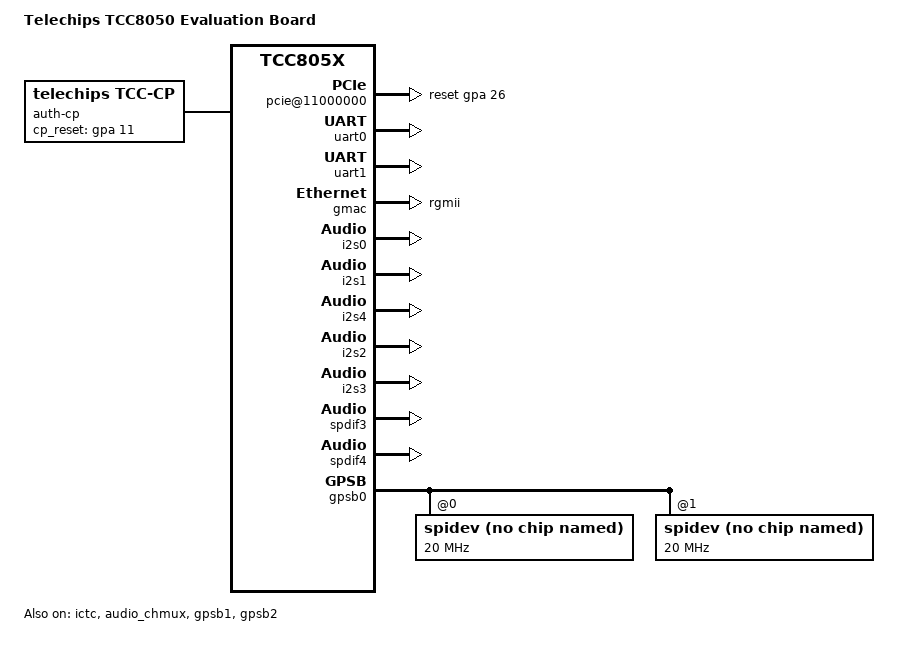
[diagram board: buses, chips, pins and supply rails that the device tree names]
// SPDX-License-Identifier: (GPL-2.0-or-later OR MIT)
/*
 * Copyright (C) Telechips Inc.
 */

#include "tcc8050.dtsi"
#include "tcc805x-linux.dtsi"

#include <dt-bindings/pmap/tcc805x/pmap-tcc805x-linux-ivi.h>

/ {
	model = "Telechips TCC8050 Evaluation Board";
	compatible = "telechips,tcc8050", "telechips,tcc805x";

	chosen {
		bootargs = "vmalloc=480M console=ttyAMA0,115200n8";
		stdout-path = &uart0;
	};

	i2c@16360000 {
		status = "okay";
		port-mux = <12>;
		pinctrl-names = "default";
		pinctrl-0 = <&i2c12_bus>;
		status = "disabled";
	};

	i2c@16370000 {
		status = "okay";
		port-mux = <13>;
		pinctrl-names = "default";
		pinctrl-0 = <&i2c13_bus>;
		status = "disabled";
	};

    	pcie@11000000 {
        	reset-gpio = <&gpa 26 0>;
        	status = "okay";
    	};

	auth-cp {
		compatible = "telechips, tcc-cp";
		cp-type = <2>;      /* 2.0C = 1, 2.0B = 0, 3.0 = 2 */
		i2c-channel = <3>;  /* 0 ~ 3 */
		/*  power-ctrl-able; */
		/* cp_power-gpio = <&gpk 14 0>; */
		cp_reset-gpio = <&gpa 11 0>;
	};
};

&reserved_memory {
	/*-----------------------------------------------------------
	* Memory for PowerVR Virtualization
	*-----------------------------------------------------------
	*/
	pmap_pvr_vz: pmap_pvr_vz {
		reg = <0x0 PVR_VZ_BASE 0x0 PMAP_SIZE_PVR_VZ>;
		no-map;
	};

	/*-----------------------------------------------------------
	 * Camera Memory
	 *-----------------------------------------------------------
	 */
	pmap_parking_gui: pmap_parking_gui {
		compatible = "shared-dma-pool";
		reg = <0x0 CAMERA_PGL_BASE 0x0 PMAP_SIZE_CAMERA_PGL>;
		alignment = <0x1000>;
		no-map;
	};

	pmap_rearcamera_viqe: pmap_rearcamera_viqe {
		compatible = "shared-dma-pool";
		reg = <0x0 CAMERA_VIQE_BASE 0x0 PMAP_SIZE_CAMERA_VIQE>;
		alignment = <0x1000>;
		no-map;
	};

	pmap_rearcamera: pmap_rearcamera {
		compatible = "shared-dma-pool";
		reg = <0x0 CAMERA_PREVIEW_BASE 0x0 PMAP_SIZE_CAMERA_PREVIEW0>;
		alignment = <0x1000>;
		no-map;
	};

	pmap_rearcamera1: pmap_rearcamera1 {
		compatible = "shared-dma-pool";
		reg = <0x0 CAMERA_PREVIEW1_BASE 0x0 PMAP_SIZE_CAMERA_PREVIEW1>;
		alignment = <0x1000>;
		no-map;
	};

	pmap_rearcamera2: pmap_rearcamera2 {
		compatible = "shared-dma-pool";
		reg = <0x0 CAMERA_PREVIEW2_BASE 0x0 PMAP_SIZE_CAMERA_PREVIEW2>;
		alignment = <0x1000>;
		no-map;
	};

	pmap_rearcamera3: pmap_rearcamera3 {
		compatible = "shared-dma-pool";
		reg = <0x0 CAMERA_PREVIEW3_BASE 0x0 PMAP_SIZE_CAMERA_PREVIEW3>;
		alignment = <0x1000>;
		no-map;
	};

	pmap_rearcamera4: pmap_rearcamera4 {
		compatible = "shared-dma-pool";
		reg = <0x0 CAMERA_PREVIEW4_BASE 0x0 PMAP_SIZE_CAMERA_PREVIEW4>;
		alignment = <0x1000>;
		no-map;
	};

	pmap_rearcamera5: pmap_rearcamera5 {
		compatible = "shared-dma-pool";
		reg = <0x0 CAMERA_PREVIEW5_BASE 0x0 PMAP_SIZE_CAMERA_PREVIEW5>;
		alignment = <0x1000>;
		no-map;
	};

	pmap_rearcamera6: pmap_rearcamera6 {
		compatible = "shared-dma-pool";
		reg = <0x0 CAMERA_PREVIEW6_BASE 0x0 PMAP_SIZE_CAMERA_PREVIEW6>;
		alignment = <0x1000>;
		no-map;
	};

	pmap_rearcamera7: pmap_rearcamera7 {
		compatible = "shared-dma-pool";
		reg = <0x0 CAMERA_PREVIEW7_BASE 0x0 PMAP_SIZE_CAMERA_PREVIEW7>;
		alignment = <0x1000>;
		no-map;
	};

	/*-----------------------------------------------------------
	 * Secure Area 1 (CPU X, VPU X, GPU W, VIOC R)
	 *-----------------------------------------------------------
	 */
	pmap_fb_video: fb_video {
		compatible = "pmap,fb_video";
		pmap-name = "fb_video";
		alloc-ranges = <0x0 SECURE_AREA_1_BASE 0x0 PMAP_SIZE_SECURE_AREA_1>;
		size = <0x0 PMAP_SIZE_FB_VIDEO>;
		no-map;
	};

	pmap_fb1_video: fb1_video {
		compatible = "pmap,fb1_video";
		pmap-name = "fb1_video";
		alloc-ranges = <0x0 SECURE_AREA_1_BASE 0x0 PMAP_SIZE_SECURE_AREA_1>;
		size = <0x0 PMAP_SIZE_FB1_VIDEO>;
		no-map;
	};

	pmap_fb2_video: fb2_video {
		compatible = "pmap,fb2_video";
		pmap-name = "fb2_video";
		alloc-ranges = <0x0 SECURE_AREA_1_BASE 0x0 PMAP_SIZE_SECURE_AREA_1>;
		size = <0x0 PMAP_SIZE_FB2_VIDEO>;
		no-map;
	};

	pmap_fb3_video: fb3_video {
		compatible = "pmap,fb3_video";
		pmap-name = "fb3_video";
		alloc-ranges = <0x0 SECURE_AREA_1_BASE 0x0 PMAP_SIZE_SECURE_AREA_1>;
		size = <0x0 PMAP_SIZE_FB3_VIDEO>;
		no-map;
	};

	/*-----------------------------------------------------------
	 * Secure Area 2 (CPU X, VPU X, GPU X, VIOC R/W)
	 *-----------------------------------------------------------
	 */
	pmap_osd: osd {
		compatible = "pmap,osd";
		pmap-name = "osd";
		alloc-ranges = <0x0 SECURE_AREA_2_BASE 0x0 PMAP_SIZE_SECURE_AREA_2>;
		size = <0x0 PMAP_SIZE_OSD>;
		no-map;
	};

	pmap_overlay: overlay {
		compatible = "pmap,overlay";
		pmap-name = "overlay";
		alloc-ranges = <0x0 SECURE_AREA_2_BASE 0x0 PMAP_SIZE_SECURE_AREA_2>;
		size = <0x0 PMAP_SIZE_OVERLAY>;
		no-map;
	};

	pmap_overlay1: overlay1 {
		compatible = "pmap,overlay1";
		pmap-name = "overlay1";
		alloc-ranges = <0x0 SECURE_AREA_2_BASE 0x0 PMAP_SIZE_SECURE_AREA_2>;
		size = <0x0 0x0>;
		no-map;
	};

	pmap_overlay_rot: overlay_rot {
		compatible = "pmap,overlay_rot";
		pmap-name = "overlay_rot";
		alloc-ranges = <0x0 SECURE_AREA_2_BASE 0x0 PMAP_SIZE_SECURE_AREA_2>;
		size = <0x0 PMAP_SIZE_OVERLAY_ROT>;
		no-map;
	};

	pmap_v4l2_vout0: v4l2_vout0 {
		compatible = "pmap,v4l2_vout0";
		pmap-name = "v4l2_vout0";
		alloc-ranges = <0x0 SECURE_AREA_2_BASE 0x0 PMAP_SIZE_SECURE_AREA_2>;
		size = <0x0 PMAP_SIZE_V4L2_VOUT0>;
		no-map;
	};

	pmap_v4l2_vout1: v4l2_vout1 {
		compatible = "pmap,v4l2_vout1";
		pmap-name = "v4l2_vout1";
		alloc-ranges = <0x0 SECURE_AREA_2_BASE 0x0 PMAP_SIZE_SECURE_AREA_2>;
		size = <0x0 PMAP_SIZE_V4L2_VOUT1>;
		no-map;
	};

	pmap_viqe0: viqe0 {
		compatible = "pmap,viqe";
		pmap-name = "viqe";
		alloc-ranges = <0x0 SECURE_AREA_2_BASE 0x0 PMAP_SIZE_SECURE_AREA_2>;
		size = <0x0 PMAP_SIZE_VIQE0>;
		no-map;
	};

	pmap_viqe1: viqe1 {
		compatible = "pmap,viqe1";
		pmap-name = "viqe1";
		alloc-ranges = <0x0 SECURE_AREA_2_BASE 0x0 PMAP_SIZE_SECURE_AREA_2>;
		size = <0x0 PMAP_SIZE_VIQE1>;
		no-map;
	};

	pmap_fb_wmixer: fb_wmixer {
		compatible = "pmap,fb_wmixer";
		pmap-name = "fb_wmixer";
		alloc-ranges = <0x0 SECURE_AREA_2_BASE 0x0 PMAP_SIZE_SECURE_AREA_2>;
		size = <0x0 PMAP_SIZE_FB_WMIXER>;
		no-map;
	};

	/*-----------------------------------------------------------
	 * Secure Area 3 (CPU X, VPU R/W, GPU X, VIOC R)
	 *-----------------------------------------------------------
	 */
	pmap_video: video {
		compatible = "telechips,pmap";
		telechips,pmap-name = "video";
		alloc-ranges = <0x0 SECURE_AREA_3_BASE 0x0 PMAP_SIZE_SECURE_AREA_3>;
		size = <0x0 PMAP_SIZE_VIDEO>;
		telechips,pmap-secured = <3>;
		no-map;
	};

	pmap_video_ext: video_ext {
		compatible = "telechips,pmap";
		telechips,pmap-name = "video_ext";
		alloc-ranges = <0x0 SECURE_AREA_3_BASE 0x0 PMAP_SIZE_SECURE_AREA_3>;
		size = <0x0 PMAP_SIZE_VIDEO_EXT>;
		telechips,pmap-secured = <3>;
		no-map;
	};

	pmap_video_ext2: video_ext2 {
		compatible = "telechips,pmap";
		telechips,pmap-name = "video_ext2";
		alloc-ranges = <0x0 SECURE_AREA_3_BASE 0x0 PMAP_SIZE_SECURE_AREA_3>;
		size = <0x0 PMAP_SIZE_VIDEO_EXT2>;
		telechips,pmap-secured = <3>;
		no-map;
	};

	pmap_video_sw: video_sw {
		compatible = "telechips,pmap";
		telechips,pmap-name = "video_sw";
		alloc-ranges = <0x0 RESERVED_HEAP_BASE 0x0 RESERVED_HEAP_SIZE>;
		size = <0x0 PMAP_SIZE_VIDEO_SW_EXTRA>;
		no-map;
	};

	/*-----------------------------------------------------------
	 * Shared Memory with pmap_video :: only for enc_main pmap.
	 *-----------------------------------------------------------
	 */
	pmap_enc_main: enc_main {
		compatible = "telechips,pmap";
		telechips,pmap-name = "enc_main";
		alloc-ranges = <0x0 SECURE_AREA_3_BASE 0x0 PMAP_SIZE_SECURE_AREA_3>;
		pmap-shared = <&pmap_video>;
		pmap-shared-size = <0x0 PMAP_SIZE_ENC>;
		pmap-offset = <0x0 VIDEO_MAIN_SIZE>;
		size = <0x0 0x0>;
		no-map;
	};

	pmap_enc_ext: enc_ext {
		compatible = "telechips,pmap";
		telechips,pmap-name = "enc_ext";
		alloc-ranges = <0x0 RESERVED_HEAP_BASE 0x0 RESERVED_HEAP_SIZE>;
		size = <0x0 PMAP_SIZE_ENC_EXT>;
		no-map;
	};

	pmap_enc_ext2: enc_ext2 {
		compatible = "telechips,pmap";
		telechips,pmap-name = "enc_ext2";
		alloc-ranges = <0x0 RESERVED_HEAP_BASE 0x0 RESERVED_HEAP_SIZE>;
		size = <0x0 PMAP_SIZE_ENC_EXT2>;
		no-map;
	};

	pmap_enc_ext3: enc_ext3 {
		compatible = "telechips,pmap";
		telechips,pmap-name = "enc_ext3";
		alloc-ranges = <0x0 RESERVED_HEAP_BASE 0x0 RESERVED_HEAP_SIZE>;
		size = <0x0 PMAP_SIZE_ENC_EXT3>;
		no-map;
	};

	pmap_enc_ext4: enc_ext4 {
		compatible = "telechips,pmap";
		telechips,pmap-name = "enc_ext4";
		alloc-ranges = <0x0 RESERVED_HEAP_BASE 0x0 RESERVED_HEAP_SIZE>;
		size = <0x0 PMAP_SIZE_ENC_EXT4>;
		no-map;
	};

	pmap_enc_ext5: enc_ext5 {
		compatible = "telechips,pmap";
		telechips,pmap-name = "enc_ext5";
		alloc-ranges = <0x0 RESERVED_HEAP_BASE 0x0 RESERVED_HEAP_SIZE>;
		size = <0x0 PMAP_SIZE_ENC_EXT5>;
		no-map;
	};

	pmap_enc_ext6: enc_ext6 {
		compatible = "telechips,pmap";
		telechips,pmap-name = "enc_ext6";
		alloc-ranges = <0x0 RESERVED_HEAP_BASE 0x0 RESERVED_HEAP_SIZE>;
		size = <0x0 PMAP_SIZE_ENC_EXT6>;
		no-map;
	};

	pmap_enc_ext7: enc_ext7 {
		compatible = "telechips,pmap";
		telechips,pmap-name = "enc_ext7";
		alloc-ranges = <0x0 RESERVED_HEAP_BASE 0x0 RESERVED_HEAP_SIZE>;
		size = <0x0 PMAP_SIZE_ENC_EXT7>;
		no-map;
	};

	pmap_enc_ext8: enc_ext8 {
		compatible = "telechips,pmap";
		telechips,pmap-name = "enc_ext8";
		alloc-ranges = <0x0 RESERVED_HEAP_BASE 0x0 RESERVED_HEAP_SIZE>;
		size = <0x0 PMAP_SIZE_ENC_EXT8>;
		no-map;
	};

	pmap_enc_ext9: enc_ext9 {
		compatible = "telechips,pmap";
		telechips,pmap-name = "enc_ext9";
		alloc-ranges = <0x0 RESERVED_HEAP_BASE 0x0 RESERVED_HEAP_SIZE>;
		size = <0x0 PMAP_SIZE_ENC_EXT9>;
		no-map;
	};

	pmap_enc_ext10: enc_ext10 {
		compatible = "telechips,pmap";
		telechips,pmap-name = "enc_ext10";
		alloc-ranges = <0x0 RESERVED_HEAP_BASE 0x0 RESERVED_HEAP_SIZE>;
		size = <0x0 PMAP_SIZE_ENC_EXT10>;
		no-map;
	};

	pmap_enc_ext11: enc_ext11 {
		compatible = "telechips,pmap";
		telechips,pmap-name = "enc_ext11";
		alloc-ranges = <0x0 RESERVED_HEAP_BASE 0x0 RESERVED_HEAP_SIZE>;
		size = <0x0 PMAP_SIZE_ENC_EXT11>;
		no-map;
	};

	pmap_enc_ext12: enc_ext12 {
		compatible = "telechips,pmap";
		telechips,pmap-name = "enc_ext12";
		alloc-ranges = <0x0 RESERVED_HEAP_BASE 0x0 RESERVED_HEAP_SIZE>;
		size = <0x0 PMAP_SIZE_ENC_EXT12>;
		no-map;
	};

	pmap_enc_ext13: enc_ext13 {
		compatible = "telechips,pmap";
		telechips,pmap-name = "enc_ext13";
		alloc-ranges = <0x0 RESERVED_HEAP_BASE 0x0 RESERVED_HEAP_SIZE>;
		size = <0x0 PMAP_SIZE_ENC_EXT13>;
		no-map;
	};

	pmap_enc_ext14: enc_ext14 {
		compatible = "telechips,pmap";
		telechips,pmap-name = "enc_ext14";
		alloc-ranges = <0x0 RESERVED_HEAP_BASE 0x0 RESERVED_HEAP_SIZE>;
		size = <0x0 PMAP_SIZE_ENC_EXT14>;
		no-map;
	};

	pmap_enc_ext15: enc_ext15 {
		compatible = "telechips,pmap";
		telechips,pmap-name = "enc_ext15";
		alloc-ranges = <0x0 RESERVED_HEAP_BASE 0x0 RESERVED_HEAP_SIZE>;
		size = <0x0 PMAP_SIZE_ENC_EXT15>;
		no-map;
	};
};

&uart0 {
	pinctrl-names = "default";
	pinctrl-0 = <&uart18_data>;
	status = "okay";
};

/* bluetooth */
&uart1 {
	pinctrl-names = "default";
	pinctrl-0 = <&uart20_data &uart20_rtscts>;
	dmas = <&udma1 2 2 &udma1 3 2>;
	dma-names = "tx", "rx";
	auto-poll;
	status = "okay";
};

&cam_ipc0 {
        status = "okay";
};

&ictc {
        status = "okay";
        pinctrl-names = "default";
        pinctrl-0 = <&ictc_f_in>;
        f-in-gpio = <&gph 5 0>;
        //f-in-rtc-wkup;
        r-edge = <100>;
        f-edge = <100>;
        edge-matching-value = <100>;
        time-out = <0>;
        duty-rounding-value = <0x0ffffff0>;
        prd-rounding-value = <0x0fffffff0>;
        flt-f-mode = <0x3>;
        flt-r-mode = <0x3>;
        cmp-err-sel = <0>;
        abs-sel = <1>;
        edge-sel = <0>;
        tck-pol = <0>;
        tck-sel = <0>;
        lock-en = <0>;
        //r-edge-int
        //f-edge-int;
        //df-cnt-full-int
        f-chg-int;
        //d-chg-int;
        //e-cnt-full-int;
        //to-cnt-full-int;
        //nf-ed-cnt-full-int;
        //time-stamp-cnt;
};

&gmac {
	status = "okay";
	compatible = "snps,dwmac-4.10a","telechips,gmac";
	phyrst-gpio = <&gpmc 11 0>;
	phy-interface = "rgmii";
	interrupt-names = "macirq";
	phy-mode = "rgmii";
	snps,txpbl = <8>;
	snps,rxpbl = <2>;
	//ecid-mac-addr;
	txclk-o-dly = <31>;
	txclk-o-inv = <0>;
	txclk-i-dly = <0>;
	txclk-i-inv = <0>;
	txen-dly = <0>;
	txer-dly = <0>;
	txd0-dly = <0>;
	txd1-dly = <0>;
	txd2-dly = <0>;
	txd3-dly = <0>;
	txd4-dly = <0>;
	txd5-dly = <0>;
	txd6-dly = <0>;
	txd7-dly = <0>;
	rxclk-i-dly = <0>;
	rxclk-i-inv = <0>;
	rxdv-dly = <0>;
	rxer-dly = <0>;
	rxd0-dly = <0>;
	rxd1-dly = <0>;
	rxd2-dly = <0>;
	rxd3-dly = <0>;
	rxd4-dly = <0>;
	rxd5-dly = <0>;
	rxd6-dly = <0>;
	rxd7-dly = <0>;
	crs-dly = <0>;
	col-dly = <0>;
	pinctrl-names = "default", "mii", "rmii", "gmii", "rgmii";
	pinctrl-0 = <>;
	pinctrl-1 = <&gmac1_mdc &gmac1_mdio &gmac1_col &gmac1_crs &gmac1_txer &gmac1_rxer
		&gmac1_txclk &gmac1_txen &gmac1_txd0 &gmac1_txd1 &gmac1_txd2 &gmac1_txd3
		&gmac1_rxclk &gmac1_rxdv &gmac1_rxd0 &gmac1_rxd1 &gmac1_rxd2 &gmac1_rxd3>;
	pinctrl-2 = <&gmac1_mdc &gmac1_mdio
		&gmac1_txclk &gmac1_txen &gmac1_txd0 &gmac1_txd1
		&gmac1_rxer &gmac1_rxdv &gmac1_rxd0 &gmac1_rxd1>;
	pinctrl-3 = <&gmac1_mdc &gmac1_mdio &gmac1_col &gmac1_crs &gmac1_txer &gmac1_rxer
		&gmac1_txclk &gmac1_txen &gmac1_txd0 &gmac1_txd1 &gmac1_txd2 &gmac1_txd3
		&gmac1_txd4 &gmac1_txd5 &gmac1_txd6 &gmac1_txd7
		&gmac1_rxclk &gmac1_rxdv &gmac1_rxd0 &gmac1_rxd1 &gmac1_rxd2 &gmac1_rxd3
		&gmac1_rxd4 &gmac1_rxd5 &gmac1_rxd6 &gmac1_rxd7>;
	pinctrl-4 = <&gmac1_mdc &gmac1_mdio
		&gmac1_txclk &gmac1_txen &gmac1_txd0 &gmac1_txd1 &gmac1_txd2 &gmac1_txd3
		&gmac1_rxclk &gmac1_rxdv &gmac1_rxd0 &gmac1_rxd1 &gmac1_rxd2 &gmac1_rxd3>;
#if 0 /* If using fixed link, enable this */
	fixed-link {
	speed = <1000>;
	full-duplex;
};
#endif

};

//This is for SDR solution.
&pinctrl {
	m1dai1_bclk {
		telechips,schmitt-input;
	};
	m1dai1_lrck {
		telechips,schmitt-input;
	};
	m1dai1_dai0 {
		telechips,schmitt-input;
	};
	m1dai1_dai1 {
		telechips,schmitt-input;
	};
	m1dai1_dai2 {
		telechips,schmitt-input;
	};
	m1dai1_dai3 {
		telechips,schmitt-input;
	};
	m1dai0_bclk {
		telechips,schmitt-input;
	};
	m1dai0_lrck {
		telechips,schmitt-input;
	};
	m1dai0_dai0 {
		telechips,schmitt-input;
	};
	m1dai0_dai1 {
		telechips,schmitt-input;
	};
	m1dai0_dai2 {
		telechips,schmitt-input;
	};
	m1dai0_dai3 {
		telechips,schmitt-input;
	};
	m0dai1_bclk {
		telechips,schmitt-input;
	};
	m0dai1_lrck {
		telechips,schmitt-input;
	};
	m0dai1_dai0 {
		telechips,schmitt-input;
	};
};

&i2s0 {
	compatible = "telechips,sdr";
	dev-name = "tcc-iq01";
	pinctrl-names = "default", "idle";
	pinctrl-0 = <&m1dai1_bclk &m1dai1_lrck
				&m1dai1_dai0 &m1dai1_dai1
				&m1dai1_dai2 &m1dai1_dai3>;
	pinctrl-1 = <&m1dai1_bclk_idle &m1dai1_lrck_idle
				&m1dai1_dai0_idle &m1dai1_dai1_idle
				&m1dai1_dai2_idle &m1dai1_dai3_idle>;
	status = "okay";
};

&i2s1 {
	compatible = "telechips,sdr";
	dev-name = "tcc-iq23";
	pinctrl-names = "default", "idle";
	pinctrl-0 = <&m1dai0_bclk &m1dai0_lrck
				&m1dai0_dai0 &m1dai0_dai1>;
	pinctrl-1 = <&m1dai0_bclk_idle &m1dai0_lrck_idle
				&m1dai0_dai0_idle &m1dai0_dai1_idle>;
	status = "okay";
};


&i2s4 {
	compatible = "telechips,sdr";
	dev-name = "tcc-hdr-blend";
	pinctrl-names = "default", "idle";
	pinctrl-0 = <&m0dai1_bclk &m0dai1_lrck &m0dai1_dai0>;
	pinctrl-1 = <&m0dai1_bclk_idle &m0dai1_lrck_idle &m0dai1_dai0_idle>;
	status = "okay";
};

&audio_chmux{
	compatible = "telechips,audio-chmux-805x";
	dai = <1 0 3 4 1 99 99 99>;
	// i2s0(1) i2s1(0) i2s2(3) i2s3(0) i2s4(1) i2s5(x) i2s6(x) i2s7(x)
	spdif = <99 99 99 3 4 99 99>;
	// spdif0(x) spdif1(x) spdif2(4) spdif3(5) spdif4(x) spdif5(x) spdif6(x)
	status = "okay";
};

&adma0 { //SDR iq01
	status = "disabled";
};

&adma1 { //SDR iq23
	status = "disabled";
};

&adma2 { //Main Audio, SPDIF TX
	status = "okay";
};

&adma3 { //PCM, SPDIF RX
	status = "okay";
};

&adma4 {
	status = "disabled";
};

&i2s2 {	//Main Audio
	pinctrl-names = "default", "idle";
	pinctrl-0 = <&m1dai3_mclk &m1dai3_bclk &m1dai3_lrck
				&m1dai3_dao0 &m1dai3_dai0
				&m1dai3_dao1 &m1dai3_dai1>;
	pinctrl-1 = <&m1dai3_mclk_idle &m1dai3_bclk_idle &m1dai3_lrck_idle
				&m1dai3_dao0_idle &m1dai3_dai0_idle
				&m1dai3_dao1_idle &m1dai3_dai1_idle>;
	status = "okay";

};

&i2s3 {	//PCM
	pinctrl-names = "default", "idle";
	pinctrl-0 = <&m0dai4_bclk &m0dai4_lrck
				&m0dai4_dao0 &m0dai4_dai0>;
	pinctrl-1 = <&m0dai4_bclk_idle &m0dai4_lrck_idle
				&m0dai4_dao0_idle &m0dai4_dai0_idle>;	
	status = "okay";
};
	 
&spdif3 { //SPDIF TX
	pinctrl-names = "default", "idle";
	pinctrl-0 = <&spdif3_tx>;
	pinctrl-1 = <&spdif3_tx_idle>;
	status = "okay";
};

&spdif4 {
	pinctrl-names = "default", "idle";
	pinctrl-0 = <&spdif4_rx>;
	pinctrl-1 = <&spdif4_rx_idle>;
	status = "okay";
};

/*
&asrc0 {
	sync-mode = <1 1 1 1>; // 0:async, 1:sync
	//path-type = <0 0 0 0>; // 0:m2m, 1:m2p, 2:p2m
	path-type = <1 1 1 2>; // 0:m2m, 1:m2p, 2:p2m
	status = "okay";
};

&sound0 {
	compatible = "telechips,asrc-card";
	card-name = "TCC805x EVM Card";
	status = "okay";

	asrc = <&asrc0>;

	telechips,dai-link@0 {
		codec,format = "i2s";

		i2s = <&i2s0>;
		codec = <&ak4601>;
		codec,dai-name = "ak4601-aif1";

		asrc-m2p-pairs = <0 1 2>;
		asrc-p2m-pairs = <3>;

		mclk_div = <16>; // 4,6,8,16
		bclk_ratio = <64>; // 32,48,64fs
		samplerate = <48000>;
		format = <0>; // 0:S16LE, 1:S24LE
		channels = <2>; //2, 4, 6, 8
	};
};
*/
&sound0 {
	compatible = "telechips,snd-card";
	card-name = "TCC805x EVM Card";
	status = "okay";

	telechips,dai-link@0 {
		stream-name="I2S_0";
		codec,format = "i2s"; // i2s, left_j, right_j
		codec,continuous-clock;
		mclk_div = <16>; // 4,6,8,16
		bclk_ratio = <64>; // 32,48,64fs
		pcm = <&adma3>;
		dai = <&i2s3>;
	};

	telechips,dai-link@1 {
		stream-name="SPDIF_0_TX";
		pcm = <&adma3>;
		dai = <&spdif3>;
		playback-only;
	};

	telechips,dai-link@2 {
		stream-name="SPDIF_1_RX";
		pcm = <&adma3>;
		dai = <&spdif4>;
		capture-only;
	};
};

&gpsb0 {
	status = "okay";
	gpsb-port = <22>;
	pinctrl-names = "idle", "active";
	pinctrl-0 = <&gpsb22_bus_idle>;
	pinctrl-1 = <&gpsb22_bus_spi>;

	/* cs-gpios */
	cs-gpios = <&gpg 8 0>,<&gpa 30 0>;

	#address-cells = <1>;
	#size-cells = <0>;
	spidev@0 {
		compatible = "rohm,dh2228fv";
		reg = <0>;
		spi-max-frequency = <20000000>;
	};
	spidev@1 {
		compatible = "rohm,dh2228fv";
		reg = <1>;
		spi-max-frequency = <20000000>;
	};
};

&gpsb1 {
	status = "okay";
	gpsb-port = <15>;
	pinctrl-names = "idle", "active";
	pinctrl-0 = <&gpsb15_bus_idle>;
	pinctrl-1 = <&gpsb15_bus_tsif>;
};

&gpsb2 {
	status = "okay";
	gpsb-port = <16>;
	pinctrl-names = "idle", "active";
	pinctrl-0 = <&gpsb16_bus_idle>;
	pinctrl-1 = <&gpsb16_bus_tsif>;
};

/* SDR tuner gpio control */
&tcc_dxb_ctrl {
	compatible = "telechips,tcc_dxb_ctrl";
	tuner-gpios = <&gpg 0 0>, <0>;
};
